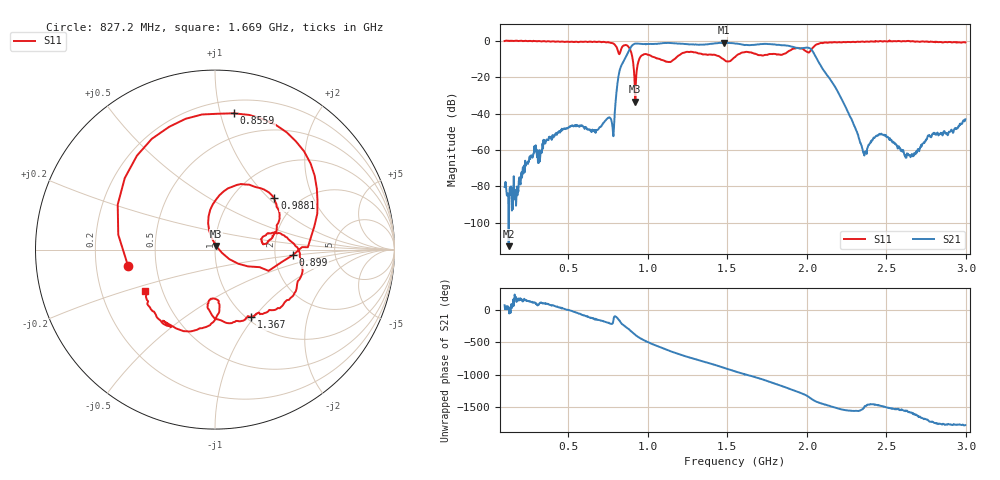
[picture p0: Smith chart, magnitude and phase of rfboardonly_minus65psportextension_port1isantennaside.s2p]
# HZ S RI R 50
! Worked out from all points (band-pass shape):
!   1009 points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, 100 MHz to 2.997 GHz, reference 50 ohm
!   highest |S21| = -0.96 dB at 1.48 GHz (marker M1); lowest = -113.0 dB at 125.9 MHz (marker M2)
!   |S21| within 3 dB of the highest: 889.8 MHz to 1.948 GHz (1.058 GHz wide, 74.6 % of centre); 1.968 GHz to 2.018 GHz (49.38 MHz wide, 2.48 % of centre)
!   lowest |S11| = -33.4 dB at 922 MHz (marker M3), VSWR 1.04, Z = 50.6 + j2.07 ohm
!   |S11| at or under -10 dB: 905 MHz to 946.4 MHz (41.45 MHz wide, 4.48 % of centre); 1.077 GHz to 1.168 GHz (90.7 MHz wide, 8.08 % of centre); 1.476 GHz to 1.532 GHz (56.11 MHz wide, 3.73 % of centre)
!   S12 and S22 are empty: the file has one direction only
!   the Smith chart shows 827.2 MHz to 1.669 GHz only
!   S11 on the Smith chart (normalised r, x): 827.2 MHz: 0.34, -0.08; 855.9 MHz: 0.30, +1.10; 899 MHz: 2.53, -0.19; 988.1 MHz: 1.53, +1.08; 1.367 GHz: 1.05, -0.97; 1.669 GHz: 0.40, -0.24
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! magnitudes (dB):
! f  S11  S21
! 100 MHz  0.0  -80.4
! 125.9 MHz  0.0  -113.0
! 186.2 MHz  0.0  -83.0
! 358.7 MHz  -0.3  -55.3
! 582.9 MHz  -0.4  -46.4
! 778.3 MHz  -1.2  -47.2
! 827.2 MHz  -6.1  -15.1
! 855.9 MHz  -2.3  -10.0
! 899 MHz  -7.2  -2.7
! 922 MHz  -33.4  -1.4
! 988.1 MHz  -7.2  -1.9
! 1.066 GHz  -9.7  -1.4
! 1.367 GHz  -7.4  -1.9
! 1.48 GHz  -10.3  -1.0
! 1.549 GHz  -8.9  -1.4
! 1.669 GHz  -6.9  -2.1
! 2.031 GHz  -4.3  -4.9
! 2.362 GHz  -0.6  -63.1
! 2.445 GHz  -0.2  -51.8
! 2.514 GHz  -0.2  -53.4
! 2.658 GHz  -0.1  -63.2
! 2.997 GHz  -0.8  -43.1
